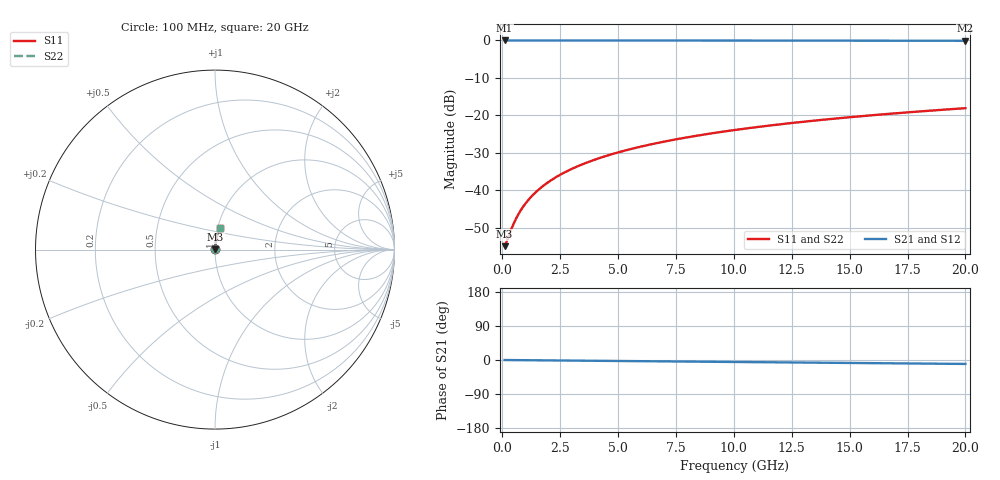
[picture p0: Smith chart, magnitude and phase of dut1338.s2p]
! Touchstone file exported from HFSS 2026.1.0
!  File:  C:/ffzhzh/LocalFiles/Ansys_Project_Files/temp_train_TSV_1338_1783195512_51560.aedt
!  Generated:  04:07:54 AM Jul  5, 2026
!  Design:  TSV
!  Project:  temp_train_TSV_1338_1783195512_51560
! Variables:
!  h_bsmrdl = 2um
!  h_ox = 20um
!  h_rdl = 5um
!  h_sub = 71.37um
!  h_tmrdl = 5um
!  h_tsv = 71.37um
!  h_via = 3um
!  l_bsmrdl = 300um
!  l_sub = 404.42um
!  l_tmrdl = 200um
!  m_sub = 200um
!  pitch = 41.49um
!  r_tsv = 2.21um
!  s_tmrdl = 10um
!  w_bsmrdl = 18um
!  w_sub = 500um
!  w_tmrdl = 12um
!  x_tsv_center1 = 206um
!  x_tsv_center2 = 524um
!  x_tsv_center3 = 736um
!  x_tsv_center4 = 1054um
!  x_tsv_center5 = 1266um
!  x_tsv_center6 = 1584um
# GHz S MA R 50.000000
! Terminal data exported
! Port[1] = TSV1_1_T1
! Port[2] = TSV1_1_T2
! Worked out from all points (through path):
!   200 points, 100 MHz to 20 GHz, reference 50 ohm
!   highest |S21| = -0.01 dB at 100 MHz (marker M1); lowest = -0.1 dB at 20 GHz (marker M2)
!   group delay of S21, straight-line fit = 1.44 ps
!   lowest |S11| = -54.9 dB at 100 MHz (marker M3), VSWR 1.00, Z = 50.2 + j0.0652 ohm
!   |S11| at or under -10 dB: start of sweep to end of sweep
!   |S22| runs from -54.9 to -18.1 dB; largest |S21 - S12| = 7.3e-15
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0.1  0.001809 21.0  0.9983 -0.1  0.9983 -0.1  0.001809 21.0
! Gamma 0 0 0 0
! Port Impedance 50 0 50 0
0.2  0.002134 37.5  0.9983 -0.1  0.9983 -0.1  0.002134 37.5
0.4  0.003105 56.6  0.9983 -0.2  0.9983 -0.2  0.003105 56.6
0.5  0.003666 62.0  0.9983 -0.3  0.9983 -0.3  0.003666 62.0
0.7  0.004848 68.9  0.9983 -0.4  0.9983 -0.4  0.004848 68.9
0.8  0.005456 71.1  0.9983 -0.4  0.9983 -0.4  0.005456 71.1
1  0.00669 74.4  0.9982 -0.5  0.9982 -0.5  0.00669 74.4
1.3  0.008568 77.5  0.9982 -0.7  0.9982 -0.7  0.008568 77.5
1.7  0.0111 79.9  0.9982 -0.9  0.9982 -0.9  0.0111 79.9
2.2  0.01428 81.6  0.9981 -1.2  0.9981 -1.2  0.01428 81.6
2.8  0.0181 82.7  0.998 -1.5  0.998 -1.5  0.0181 82.7
3.5  0.02257 83.4  0.9979 -1.8  0.9979 -1.8  0.02257 83.4
4.2  0.02704 83.7  0.9977 -2.2  0.9977 -2.2  0.02704 83.7
5  0.03214 83.8  0.9975 -2.6  0.9975 -2.6  0.03214 83.8
5.9  0.03786 83.7  0.9972 -3.1  0.9972 -3.1  0.03786 83.7
6.8  0.04357 83.5  0.9969 -3.6  0.9969 -3.6  0.04357 83.5
8.3  0.05305 83.1  0.9962 -4.4  0.9962 -4.4  0.05305 83.1
10.1  0.06434 82.4  0.9953 -5.3  0.9953 -5.3  0.06434 82.4
11.7  0.07431 81.7  0.9944 -6.1  0.9944 -6.1  0.07431 81.7
13.4  0.08482 80.9  0.9933 -7.0  0.9933 -7.0  0.08482 80.9
16.7  0.105 79.4  0.991 -8.7  0.991 -8.7  0.105 79.4
20  0.1249 77.8  0.9883 -10.4  0.9883 -10.4  0.1249 77.8
